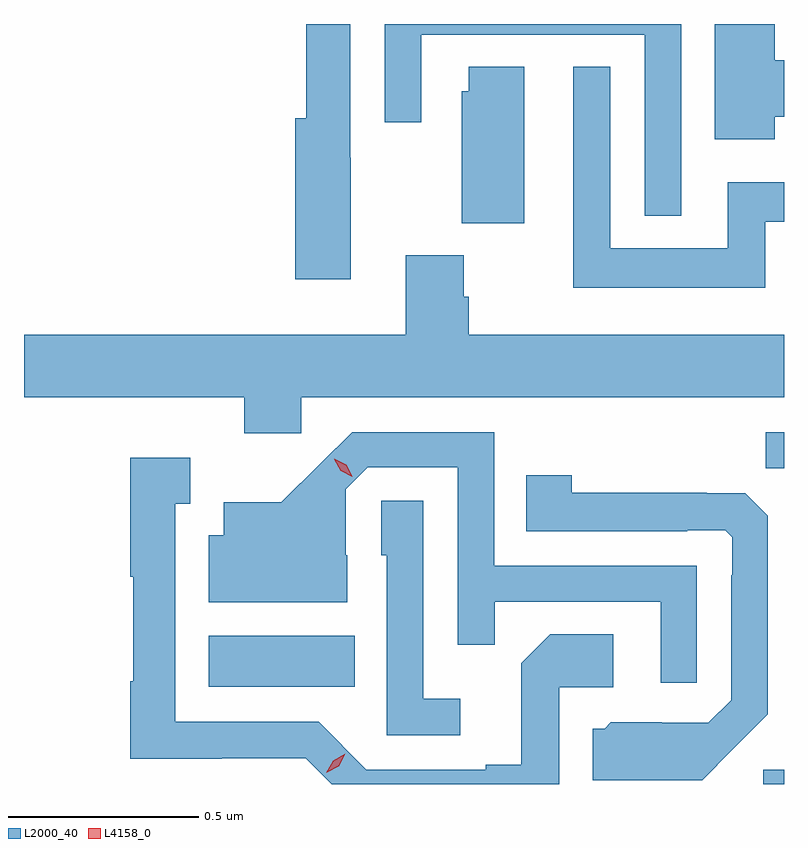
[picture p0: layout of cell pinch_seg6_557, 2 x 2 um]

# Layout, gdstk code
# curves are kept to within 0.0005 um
import gdstk
lib = gdstk.Library(unit=1e-6, precision=1e-09)
def R(c, l, rs):  # rectangles x0, y0, x1, y1
    for r in rs: c.add(gdstk.rectangle(r[:2], r[2:], *l))
def P(c, l, *ps):  # polygons
    for p in ps: c.add(gdstk.Polygon(p, *l))
L2000_40 = (2000, 40)
L4158_0 = (4158, 0)

pinch_seg6_557 = lib.new_cell('pinch_seg6_557')
R(pinch_seg6_557, L2000_40, [(799.281,921.01,799.336,921.048), (797.822,921.266,798.206,921.4), (799.288,921.841,799.336,921.936)])
P(pinch_seg6_557, L2000_40, [(799.065,923.01),(798.285,923.01),(798.285,922.752),(798.381,922.752),(798.381,922.982),(798.969,922.982),(798.969,922.505),(799.065,922.505)],
  [(799.312,922.766),(799.336,922.766),(799.336,922.914),(799.312,922.914),(799.312,923.01),(799.154,923.01),(799.154,922.707),(799.312,922.707)],
  [(798.196,922.658),(798.195,922.658),(798.195,923.01),(798.079,923.01),(798.079,922.762),(798.05,922.762),(798.05,922.338),(798.196,922.338)],
  [(799.286,922.49),(799.336,922.49),(799.336,922.594),(799.188,922.594),(799.188,922.42),(798.879,922.42),(798.879,922.897),(798.782,922.897),(798.782,922.316),(799.286,922.316)],
  [(798.652,922.897),(798.506,922.897),(798.506,922.833),(798.488,922.833),(798.488,922.486),(798.652,922.486)],
  [(798.066,922.028),(799.336,922.028),(799.336,922.192),(798.506,922.192),(798.506,922.292),(798.493,922.292),(798.493,922.401),(798.341,922.401),(798.341,922.192),(797.336,922.192),(797.336,922.028),(797.915,922.028),(797.915,921.933),(798.066,921.933)],
  [(799.107,921.585),(798.573,921.585),(798.573,921.936),(798.2,921.936),(798.013,921.751),(797.861,921.751),(797.861,921.664),(797.822,921.664),(797.822,921.488),(798.187,921.488),(798.187,921.612),(798.183,921.612),(798.183,921.786),(798.24,921.843),(798.477,921.843),(798.477,921.376),(798.575,921.376),(798.575,921.489),(799.011,921.489),(799.011,921.276),(799.107,921.276)],
  [(798.744,921.264),(798.886,921.264),(798.886,921.404),(798.721,921.404),(798.645,921.328),(798.645,921.061),(798.551,921.061),(798.551,921.048),(798.237,921.048),(798.111,921.174),(797.734,921.174),(797.734,921.747),(797.773,921.747),(797.773,921.868),(797.616,921.868),(797.616,921.555),(797.623,921.555),(797.623,921.281),(797.616,921.281),(797.616,921.077),(797.856,921.077),(797.856,921.078),(798.078,921.078),(798.146,921.01),(798.744,921.01)],
  [(799.201,921.101),(799.293,921.194),(799.293,921.716),(799.234,921.775),(799.133,921.775),(799.133,921.776),(798.777,921.776),(798.777,921.823),(798.658,921.823),(798.658,921.675),(799.082,921.675),(799.082,921.678),(799.182,921.678),(799.2,921.66),(799.2,921.56),(799.197,921.56),(799.197,921.231),(799.137,921.171),(799.014,921.171),(799.014,921.172),(798.88,921.172),(798.864,921.156),(798.833,921.156),(798.833,921.02),(799.121,921.02)],
  [(798.484,921.235),(798.387,921.235),(798.387,921.755),(798.276,921.755),(798.276,921.612),(798.291,921.612),(798.291,921.138),(798.484,921.138)])
P(pinch_seg6_557, L4158_0, [(798.2,921.819),(798.17,921.835),(798.153,921.865),(798.153,921.866),(798.153,921.866),(798.184,921.85),(798.2,921.82),(798.2,921.819)],
  [(798.132,921.039),(798.132,921.039),(798.15,921.071),(798.181,921.09),(798.182,921.09),(798.182,921.09),(798.164,921.057),(798.132,921.039)])

lib.write_gds('pinch_seg6_557.gds')
